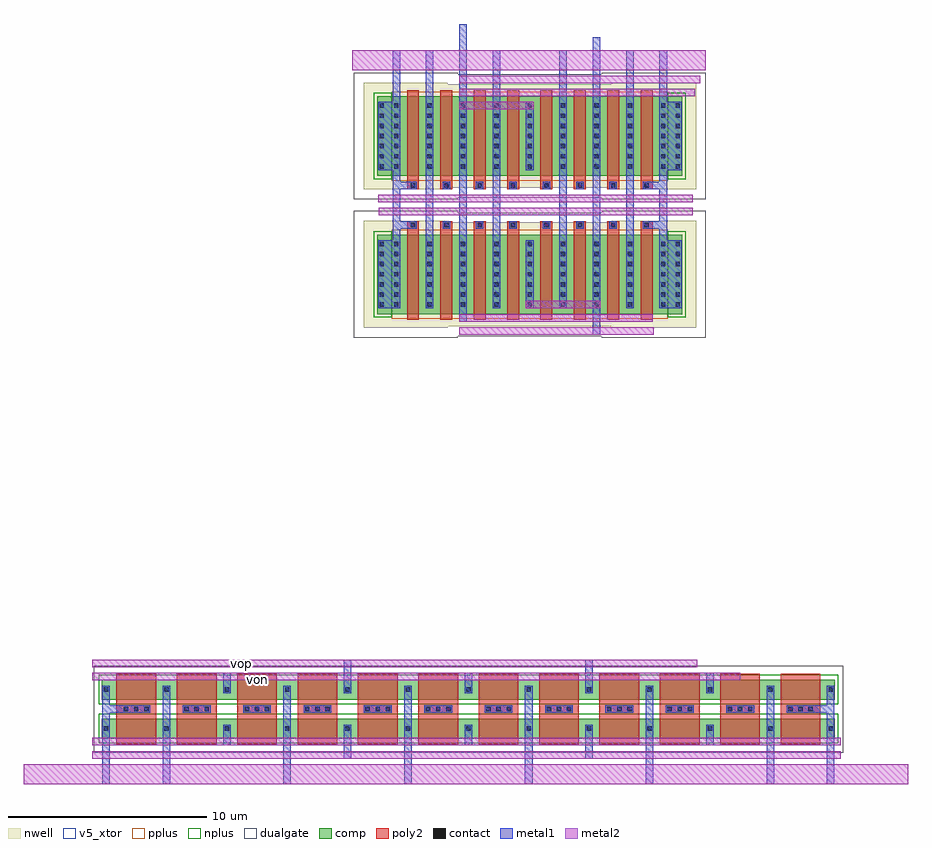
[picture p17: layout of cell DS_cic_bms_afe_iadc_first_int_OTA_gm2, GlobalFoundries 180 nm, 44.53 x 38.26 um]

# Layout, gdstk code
from math import pi, radians
import gdstk
lib = gdstk.Library(unit=1e-6, precision=5e-09)
def R(c, l, rs):  # rectangles x0, y0, x1, y1
    for r in rs: c.add(gdstk.rectangle(r[:2], r[2:], *l))
def A(c, l, x, y, w, h, nx, ny, dx, dy):  # array of equal rectangles
    R(c, l, [(x+i*dx, y+j*dy, x+i*dx+w, y+j*dy+h) for i in range(nx) for j in range(ny)])
nwell = (21, 0)
comp = (22, 0)
poly2 = (30, 0)
pplus = (31, 0)
nplus = (32, 0)
contact = (33, 0)
metal1 = (34, 0)
metal2 = (36, 0)
dualgate = (55, 0)
v5_xtor = (112, 1)

nfet_6_6 = lib.new_cell('nfet$6$6')
R(nfet_6_6, comp, [(-0.42,0,0,1), (0,0,2.62,1), (2.62,0,3.04,1)])
R(nfet_6_6, poly2, [(0.31,-0.3,2.31,1.3), (0.31,1.3,2.31,1.66)])
R(nfet_6_6, nplus, [(-0.59,-0.24,3.21,1.24)])
A(nfet_6_6, contact, 0.69, 1.37, 0.22, 0.22, 3, 1, 0.51, 0)
R(nfet_6_6, contact, [(-0.32,0.39,-0.1,0.61), (2.72,0.39,2.94,0.61)])
R(nfet_6_6, metal1, [(-0.4,0.31,-0.02,0.69), (2.64,0.31,3.02,0.69), (0.61,1.29,2.01,1.67)])
R(nfet_6_6, dualgate, [(-0.84,-0.71,3.46,2.08)])
R(nfet_6_6, v5_xtor, [(-0.84,-0.71,3.46,2.08)])

pfet_2_9 = lib.new_cell('pfet$2$9')
R(pfet_2_9, nwell, [(-1.07,-0.61,2.29,4.61)])
R(pfet_2_9, comp, [(-0.46,0,0,4), (0,0,1.22,4), (1.22,0,1.68,4)])
R(pfet_2_9, poly2, [(0.31,-0.3,0.91,4.3), (0.31,4.3,0.91,4.68)])
R(pfet_2_9, pplus, [(-0.63,-0.24,1.85,4.24)])
A(pfet_2_9, contact, -0.34, 0.36, 0.22, 0.22, 1, 7, 0, 0.51)
A(pfet_2_9, contact, 1.34, 0.36, 0.22, 0.22, 1, 7, 0, 0.51)
R(pfet_2_9, contact, [(0.5,4.38,0.72,4.6)])
R(pfet_2_9, metal1, [(-0.42,0.28,-0.04,3.72), (1.26,0.28,1.64,3.72), (0.42,4.3,0.8,4.68)])
R(pfet_2_9, dualgate, [(-1.57,-1.11,2.79,5.11), (-0.88,-0.71,2.1,5.09)])
R(pfet_2_9, v5_xtor, [(-1.57,-1.11,2.79,5.11), (-0.88,-0.71,2.1,5.09)])

pfet_1_2_2 = lib.new_cell('pfet$1$2$2')
R(pfet_1_2_2, nwell, [(-1.15,-0.69,3.1,4.69)])
R(pfet_1_2_2, comp, [(-0.46,0,0,4), (0,0,1.22,4), (1.22,0,1.68,4), (1.68,0,2.41,4)])
R(pfet_1_2_2, poly2, [(0.31,-0.3,0.91,4.3), (0.31,4.3,0.91,4.68)])
R(pfet_1_2_2, pplus, [(-0.63,-0.24,1.68,4.24)])
R(pfet_1_2_2, nplus, [(1.68,-0.17,2.58,4.17)])
A(pfet_1_2_2, contact, -0.34, 0.36, 0.22, 0.22, 1, 7, 0, 0.51)
A(pfet_1_2_2, contact, 1.34, 0.36, 0.22, 0.22, 1, 7, 0, 0.51)
A(pfet_1_2_2, contact, 2.07, 0.36, 0.22, 0.22, 1, 7, 0, 0.51)
R(pfet_1_2_2, contact, [(0.5,4.38,0.72,4.6)])
R(pfet_1_2_2, metal1, [(-0.42,0.28,-0.04,3.72), (1.26,0.28,1.64,3.72), (1.99,0.28,2.37,3.72), (0.42,4.3,0.8,4.68)])
R(pfet_1_2_2, dualgate, [(-1.65,-1.19,3.6,5.19)])
R(pfet_1_2_2, v5_xtor, [(-1.65,-1.19,3.6,5.19)])

ds_cic_bms_afe_iadc_firs = lib.new_cell('DS_cic_bms_afe_iadc_first_int_OTA_gm2')
R(ds_cic_bms_afe_iadc_firs, metal1, [(98.635,87.9,99.745,91.34), (112.805,87.9,113.915,91.34), (98.635,94.86,99.745,98.3), (112.805,94.86,113.915,98.3)])
ds_cic_bms_afe_iadc_firs.add(gdstk.FlexPath([(115.345,66.94),(115.345,65.9)], 0.38, ends="flush", simple_path=True, layer=34, datatype=0))  # metal1
ds_cic_bms_afe_iadc_firs.add(gdstk.FlexPath([(115.345,68.52),(115.345,69.56)], 0.38, ends="flush", simple_path=True, layer=34, datatype=0))  # metal1
ds_cic_bms_afe_iadc_firs.add(gdstk.FlexPath([(109.265,68.6),(109.265,70.22)], 0.38, ends="flush", simple_path=True, layer=34, datatype=0))  # metal1
ds_cic_bms_afe_iadc_firs.add(gdstk.FlexPath([(109.265,66.86),(109.265,65.24)], 0.38, ends="flush", simple_path=True, layer=34, datatype=0))  # metal1
ds_cic_bms_afe_iadc_firs.add(gdstk.FlexPath([(103.185,68.52),(103.185,69.56)], 0.38, ends="flush", simple_path=True, layer=34, datatype=0))  # metal1
ds_cic_bms_afe_iadc_firs.add(gdstk.FlexPath([(103.185,66.94),(103.185,65.9)], 0.38, ends="flush", simple_path=True, layer=34, datatype=0))  # metal1
ds_cic_bms_afe_iadc_firs.add(gdstk.FlexPath([(97.105,68.6),(97.105,69.56),(97.105,70.22)], 0.38, ends="flush", simple_path=True, layer=34, datatype=0))  # metal1
ds_cic_bms_afe_iadc_firs.add(gdstk.FlexPath([(97.105,66.94),(97.105,65.24)], 0.38, ends="flush", simple_path=True, layer=34, datatype=0))  # metal1
ds_cic_bms_afe_iadc_firs.add(gdstk.FlexPath([(91.025,68.52),(91.025,69.56)], 0.38, ends="flush", simple_path=True, layer=34, datatype=0))  # metal1
ds_cic_bms_afe_iadc_firs.add(gdstk.FlexPath([(91.025,66.94),(91.025,65.9)], 0.38, ends="flush", simple_path=True, layer=34, datatype=0))  # metal1
ds_cic_bms_afe_iadc_firs.add(gdstk.FlexPath([(84.945,68.9),(84.945,63.96)], 0.38, ends="flush", simple_path=True, layer=34, datatype=0))  # metal1
ds_cic_bms_afe_iadc_firs.add(gdstk.FlexPath([(87.985,68.9),(87.985,63.96)], 0.38, ends="flush", simple_path=True, layer=34, datatype=0))  # metal1
ds_cic_bms_afe_iadc_firs.add(gdstk.FlexPath([(87.165,67.73),(84.755,67.73)], 0.38, ends="flush", simple_path=True, layer=34, datatype=0))  # metal1
ds_cic_bms_afe_iadc_firs.add(gdstk.FlexPath([(94.065,68.9),(94.065,63.96)], 0.38, ends="flush", simple_path=True, layer=34, datatype=0))  # metal1
ds_cic_bms_afe_iadc_firs.add(gdstk.FlexPath([(100.145,68.9),(100.145,63.96)], 0.38, ends="flush", simple_path=True, layer=34, datatype=0))  # metal1
ds_cic_bms_afe_iadc_firs.add(gdstk.FlexPath([(106.225,68.9),(106.225,63.96)], 0.38, ends="flush", simple_path=True, layer=34, datatype=0))  # metal1
ds_cic_bms_afe_iadc_firs.add(gdstk.FlexPath([(112.305,68.9),(112.305,63.96)], 0.38, ends="flush", simple_path=True, layer=34, datatype=0))  # metal1
ds_cic_bms_afe_iadc_firs.add(gdstk.FlexPath([(118.385,68.9),(118.385,63.96)], 0.38, ends="flush", simple_path=True, layer=34, datatype=0))  # metal1
ds_cic_bms_afe_iadc_firs.add(gdstk.FlexPath([(121.425,68.9),(121.425,63.96)], 0.38, ends="flush", simple_path=True, layer=34, datatype=0))  # metal1
ds_cic_bms_afe_iadc_firs.add(gdstk.FlexPath([(119.205,67.73),(121.615,67.73)], 0.38, ends="flush", simple_path=True, layer=34, datatype=0))  # metal1
ds_cic_bms_afe_iadc_firs.add(gdstk.FlexPath([(102.915,99.62),(102.915,87.24)], 0.38, ends="flush", simple_path=True, layer=34, datatype=0))  # metal1
ds_cic_bms_afe_iadc_firs.add(gdstk.FlexPath([(109.635,98.96),(109.635,86.58)], 0.38, ends="flush", simple_path=True, layer=34, datatype=0))  # metal1
ds_cic_bms_afe_iadc_firs.add(gdstk.FlexPath([(99.555,87.9),(99.555,100.9)], 0.38, ends="flush", simple_path=True, layer=34, datatype=0))  # metal1
ds_cic_bms_afe_iadc_firs.add(gdstk.FlexPath([(101.235,87.9),(101.235,100.9)], 0.38, ends="flush", simple_path=True, layer=34, datatype=0))  # metal1
ds_cic_bms_afe_iadc_firs.add(gdstk.FlexPath([(104.595,87.9),(104.595,100.9)], 0.38, ends="flush", simple_path=True, layer=34, datatype=0))  # metal1
ds_cic_bms_afe_iadc_firs.add(gdstk.FlexPath([(107.955,87.9),(107.955,100.9)], 0.38, ends="flush", simple_path=True, layer=34, datatype=0))  # metal1
ds_cic_bms_afe_iadc_firs.add(gdstk.FlexPath([(111.315,87.9),(111.315,100.9)], 0.38, ends="flush", simple_path=True, layer=34, datatype=0))  # metal1
ds_cic_bms_afe_iadc_firs.add(gdstk.FlexPath([(112.995,88.005),(112.995,100.9)], 0.38, ends="flush", simple_path=True, layer=34, datatype=0))  # metal1
ds_cic_bms_afe_iadc_firs.add(gdstk.FlexPath([(100.585,94.09),(99.365,94.09)], 0.38, ends="flush", simple_path=True, layer=34, datatype=0))  # metal1
ds_cic_bms_afe_iadc_firs.add(gdstk.FlexPath([(100.585,92.11),(99.365,92.11)], 0.38, ends="flush", simple_path=True, layer=34, datatype=0))  # metal1
ds_cic_bms_afe_iadc_firs.add(gdstk.FlexPath([(111.965,94.09),(113.185,94.09),(113.185,94.09),(113.185,94.09)], 0.38, ends="flush", simple_path=True, layer=34, datatype=0))  # metal1
ds_cic_bms_afe_iadc_firs.add(gdstk.FlexPath([(111.965,92.11),(113.185,92.11)], 0.38, ends="flush", simple_path=True, layer=34, datatype=0))  # metal1
ds_cic_bms_afe_iadc_firs.add(gdstk.FlexPath([(102.915,98.58),(102.915,102.22)], 0.38, ends="flush", simple_path=True, layer=34, datatype=0))  # metal1
ds_cic_bms_afe_iadc_firs.add(gdstk.FlexPath([(109.635,98.96),(109.635,101.56)], 0.38, ends="flush", simple_path=True, layer=34, datatype=0))  # metal1
ds_cic_bms_afe_iadc_firs.add(gdstk.FlexPath([(84.25,69.37),(116.865,69.37)], 0.38, ends="flush", simple_path=True, layer=36, datatype=0))  # metal2
ds_cic_bms_afe_iadc_firs.add(gdstk.FlexPath([(84.25,70.03),(114.715,70.03)], 0.38, ends="flush", simple_path=True, layer=36, datatype=0))  # metal2
ds_cic_bms_afe_iadc_firs.add(gdstk.FlexPath([(84.25,65.43),(121.935,65.43)], 0.38, ends="flush", simple_path=True, layer=36, datatype=0))  # metal2
ds_cic_bms_afe_iadc_firs.add(gdstk.FlexPath([(84.25,66.09),(121.935,66.09)], 0.38, ends="flush", simple_path=True, layer=36, datatype=0))  # metal2
ds_cic_bms_afe_iadc_firs.add(gdstk.FlexPath([(125.33,64.46),(80.8,64.46)], 1, ends="flush", simple_path=True, layer=36, datatype=0))  # metal2
ds_cic_bms_afe_iadc_firs.add(gdstk.FlexPath([(102.725,86.77),(112.52,86.77)], 0.38, ends="flush", simple_path=True, layer=36, datatype=0))  # metal2
ds_cic_bms_afe_iadc_firs.add(gdstk.FlexPath([(102.725,87.43),(112.455,87.43)], 0.38, ends="flush", simple_path=True, layer=36, datatype=0))  # metal2
ds_cic_bms_afe_iadc_firs.add(gdstk.FlexPath([(97.34,100.4),(115.145,100.4)], 1, ends="flush", simple_path=True, layer=36, datatype=0))  # metal2
ds_cic_bms_afe_iadc_firs.add(gdstk.FlexPath([(102.725,98.77),(114.57,98.77)], 0.38, ends="flush", simple_path=True, layer=36, datatype=0))  # metal2
ds_cic_bms_afe_iadc_firs.add(gdstk.FlexPath([(102.725,99.43),(114.865,99.43)], 0.38, ends="flush", simple_path=True, layer=36, datatype=0))  # metal2
ds_cic_bms_afe_iadc_firs.add(gdstk.FlexPath([(98.66,93.43),(114.475,93.43)], 0.38, ends="flush", simple_path=True, layer=36, datatype=0))  # metal2
ds_cic_bms_afe_iadc_firs.add(gdstk.FlexPath([(98.685,92.77),(114.475,92.77)], 0.38, ends="flush", simple_path=True, layer=36, datatype=0))  # metal2
ds_cic_bms_afe_iadc_firs.add(gdstk.FlexPath([(102.725,98.11),(106.465,98.11)], 0.38, ends="flush", simple_path=True, layer=36, datatype=0))  # metal2
ds_cic_bms_afe_iadc_firs.add(gdstk.FlexPath([(106.085,88.09),(109.825,88.09)], 0.38, ends="flush", simple_path=True, layer=36, datatype=0))  # metal2
ds_cic_bms_afe_iadc_firs.add(gdstk.Reference(nfet_6_6, (87.775,69.21), rotation=pi))
ds_cic_bms_afe_iadc_firs.add(gdstk.Reference(nfet_6_6, (90.815,69.21), rotation=pi))
ds_cic_bms_afe_iadc_firs.add(gdstk.Reference(nfet_6_6, (93.855,69.21), rotation=pi))
ds_cic_bms_afe_iadc_firs.add(gdstk.Reference(nfet_6_6, (96.895,69.21), rotation=pi))
ds_cic_bms_afe_iadc_firs.add(gdstk.Reference(nfet_6_6, (99.935,69.21), rotation=pi))
ds_cic_bms_afe_iadc_firs.add(gdstk.Reference(nfet_6_6, (102.975,69.21), rotation=pi))
ds_cic_bms_afe_iadc_firs.add(gdstk.Reference(nfet_6_6, (106.015,69.21), rotation=pi))
ds_cic_bms_afe_iadc_firs.add(gdstk.Reference(nfet_6_6, (109.055,69.21), rotation=pi))
ds_cic_bms_afe_iadc_firs.add(gdstk.Reference(nfet_6_6, (112.095,69.21), rotation=pi))
ds_cic_bms_afe_iadc_firs.add(gdstk.Reference(nfet_6_6, (115.135,69.21), rotation=pi))
ds_cic_bms_afe_iadc_firs.add(gdstk.Reference(nfet_6_6, (118.175,69.21), rotation=pi))
ds_cic_bms_afe_iadc_firs.add(gdstk.Reference(nfet_6_6, (121.215,69.21), rotation=pi))
ds_cic_bms_afe_iadc_firs.add(gdstk.Reference(nfet_6_6, (87.775,66.25), rotation=pi, x_reflection=True))
ds_cic_bms_afe_iadc_firs.add(gdstk.Reference(nfet_6_6, (90.815,66.25), rotation=pi, x_reflection=True))
ds_cic_bms_afe_iadc_firs.add(gdstk.Reference(nfet_6_6, (93.855,66.25), rotation=pi, x_reflection=True))
ds_cic_bms_afe_iadc_firs.add(gdstk.Reference(nfet_6_6, (96.895,66.25), rotation=pi, x_reflection=True))
ds_cic_bms_afe_iadc_firs.add(gdstk.Reference(nfet_6_6, (99.935,66.25), rotation=pi, x_reflection=True))
ds_cic_bms_afe_iadc_firs.add(gdstk.Reference(nfet_6_6, (102.975,66.25), rotation=pi, x_reflection=True))
ds_cic_bms_afe_iadc_firs.add(gdstk.Reference(nfet_6_6, (106.015,66.25), rotation=pi, x_reflection=True))
ds_cic_bms_afe_iadc_firs.add(gdstk.Reference(nfet_6_6, (109.055,66.25), rotation=pi, x_reflection=True))
ds_cic_bms_afe_iadc_firs.add(gdstk.Reference(nfet_6_6, (112.095,66.25), rotation=pi, x_reflection=True))
ds_cic_bms_afe_iadc_firs.add(gdstk.Reference(nfet_6_6, (115.135,66.25), rotation=pi, x_reflection=True))
ds_cic_bms_afe_iadc_firs.add(gdstk.Reference(nfet_6_6, (118.175,66.25), rotation=pi, x_reflection=True))
ds_cic_bms_afe_iadc_firs.add(gdstk.Reference(nfet_6_6, (121.215,66.25), rotation=pi, x_reflection=True))
ds_cic_bms_afe_iadc_firs.add(gdstk.Reference(pfet_2_9, (102.685,87.62), rotation=pi, x_reflection=True))
ds_cic_bms_afe_iadc_firs.add(gdstk.Reference(pfet_1_2_2, (101.005,87.62), rotation=pi, x_reflection=True))
ds_cic_bms_afe_iadc_firs.add(gdstk.Reference(pfet_2_9, (104.365,87.62), rotation=pi, x_reflection=True))
ds_cic_bms_afe_iadc_firs.add(gdstk.Reference(pfet_1_2_2, (111.545,87.62)))
ds_cic_bms_afe_iadc_firs.add(gdstk.Reference(pfet_2_9, (111.085,87.62), rotation=pi, x_reflection=True))
ds_cic_bms_afe_iadc_firs.add(gdstk.Reference(pfet_2_9, (109.405,87.62), rotation=pi, x_reflection=True))
ds_cic_bms_afe_iadc_firs.add(gdstk.Reference(pfet_2_9, (107.725,87.62), rotation=pi, x_reflection=True))
ds_cic_bms_afe_iadc_firs.add(gdstk.Reference(pfet_2_9, (106.045,87.62), rotation=pi, x_reflection=True))
ds_cic_bms_afe_iadc_firs.add(gdstk.Reference(pfet_2_9, (106.045,98.58), rotation=pi))
ds_cic_bms_afe_iadc_firs.add(gdstk.Reference(pfet_2_9, (107.725,98.58), rotation=pi))
ds_cic_bms_afe_iadc_firs.add(gdstk.Reference(pfet_2_9, (109.405,98.58), rotation=pi))
ds_cic_bms_afe_iadc_firs.add(gdstk.Reference(pfet_2_9, (111.085,98.58), rotation=pi))
ds_cic_bms_afe_iadc_firs.add(gdstk.Reference(pfet_1_2_2, (111.545,98.58), x_reflection=True))
ds_cic_bms_afe_iadc_firs.add(gdstk.Reference(pfet_2_9, (104.365,98.58), rotation=pi))
ds_cic_bms_afe_iadc_firs.add(gdstk.Reference(pfet_1_2_2, (101.005,98.58), rotation=pi))
ds_cic_bms_afe_iadc_firs.add(gdstk.Reference(pfet_2_9, (102.685,98.58), rotation=pi))
ds_cic_bms_afe_iadc_firs.add(gdstk.Label('vop', (91.745,70.03), layer=34, texttype=0))
ds_cic_bms_afe_iadc_firs.add(gdstk.Label('von', (92.545,69.21), layer=34, texttype=0))

lib.write_gds('DS_cic_bms_afe_iadc_first_int_OTA_gm2.gds')
